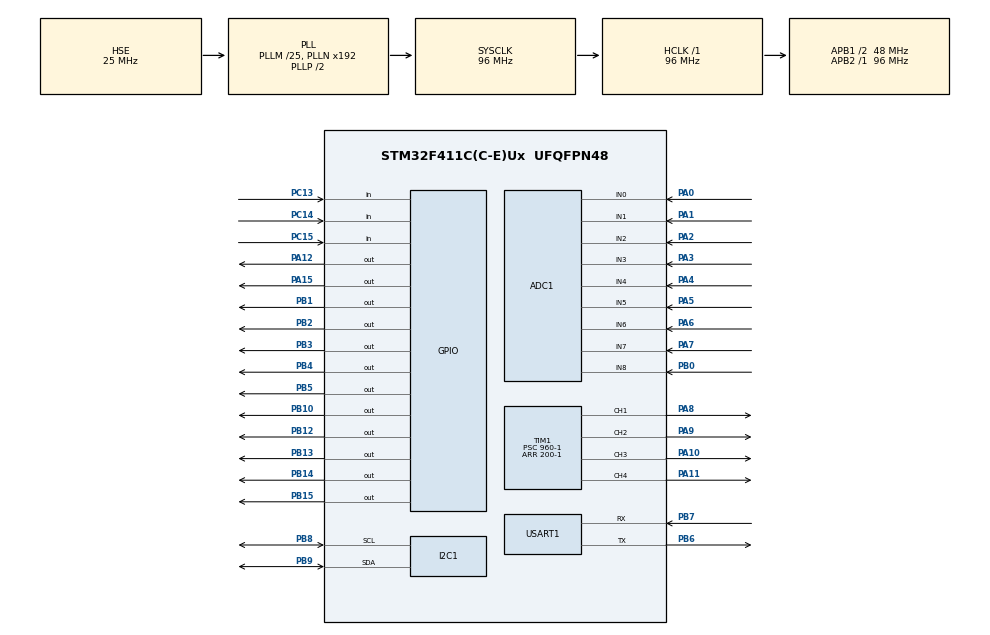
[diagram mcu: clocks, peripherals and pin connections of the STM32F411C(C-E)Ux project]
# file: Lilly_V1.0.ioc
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ADC1.Channel-0\#ChannelRegularConversion=ADC_CHANNEL_0
ADC1.Channel-1\#ChannelInjectedConversion=ADC_CHANNEL_0
ADC1.InjNumberOfConversion=1
ADC1.InjectedOffset-1\#ChannelInjectedConversion=0
ADC1.InjectedRank-1\#ChannelInjectedConversion=1
ADC1.NbrOfConversionFlag=1
ADC1.Rank-0\#ChannelRegularConversion=1
ADC1.SamplingTime-0\#ChannelRegularConversion=ADC_SAMPLETIME_112CYCLES
ADC1.SamplingTime-1\#ChannelInjectedConversion=ADC_SAMPLETIME_3CYCLES
ADC1.master=1
Dma.ADC1.0.Direction=DMA_PERIPH_TO_MEMORY
Dma.ADC1.0.FIFOMode=DMA_FIFOMODE_DISABLE
Dma.ADC1.0.Instance=DMA2_Stream0
Dma.ADC1.0.MemDataAlignment=DMA_MDATAALIGN_HALFWORD
Dma.ADC1.0.MemInc=DMA_MINC_ENABLE
Dma.ADC1.0.Mode=DMA_NORMAL
Dma.ADC1.0.PeriphDataAlignment=DMA_PDATAALIGN_HALFWORD
Dma.ADC1.0.PeriphInc=DMA_PINC_DISABLE
Dma.ADC1.0.Priority=DMA_PRIORITY_LOW
Dma.Request0=ADC1
Dma.Request1=USART1_RX
Dma.USART1_RX.1.Direction=DMA_PERIPH_TO_MEMORY
Dma.USART1_RX.1.FIFOMode=DMA_FIFOMODE_DISABLE
Dma.USART1_RX.1.Instance=DMA2_Stream2
Dma.USART1_RX.1.MemDataAlignment=DMA_MDATAALIGN_BYTE
Dma.USART1_RX.1.MemInc=DMA_MINC_ENABLE
Dma.USART1_RX.1.Mode=DMA_NORMAL
Dma.USART1_RX.1.PeriphDataAlignment=DMA_PDATAALIGN_BYTE
Dma.USART1_RX.1.PeriphInc=DMA_PINC_DISABLE
Dma.USART1_RX.1.Priority=DMA_PRIORITY_LOW
Mcu.Family=STM32F4
Mcu.Name=STM32F411C(C-E)Ux
Mcu.Package=UFQFPN48
NVIC.ADC_IRQn=true\:0\:0\:false\:false\:true\:true\:true\:true
NVIC.DMA2_Stream0_IRQn=true\:0\:0\:false\:false\:true\:false\:true\:true
NVIC.DMA2_Stream2_IRQn=true\:0\:0\:false\:false\:true\:false\:true\:true
NVIC.PriorityGroup=NVIC_PRIORITYGROUP_4
NVIC.USART1_IRQn=true\:0\:0\:false\:false\:true\:true\:true\:true
PA0-WKUP.Signal=ADCx_IN0
PA1.Signal=ADCx_IN1
PA10.Signal=S_TIM1_CH3
PA11.Signal=S_TIM1_CH4
PA12.Signal=GPIO_Output
PA13.Mode=Serial_Wire
PA13.Signal=SYS_JTMS-SWDIO
PA14.Mode=Serial_Wire
PA14.Signal=SYS_JTCK-SWCLK
PA15.Signal=GPIO_Output
PA2.Signal=ADCx_IN2
PA3.Signal=ADCx_IN3
PA4.Signal=ADCx_IN4
PA5.Signal=ADCx_IN5
PA6.Signal=ADCx_IN6
PA7.Signal=ADCx_IN7
PA8.Signal=S_TIM1_CH1
PA9.Signal=S_TIM1_CH2
PB0.Signal=ADCx_IN8
PB1.Signal=GPIO_Output
PB10.Signal=GPIO_Output
PB12.Signal=GPIO_Output
PB13.Signal=GPIO_Output
PB14.Signal=GPIO_Output
PB15.Signal=GPIO_Output
PB2.Signal=GPIO_Output
PB3.Signal=GPIO_Output
PB4.Signal=GPIO_Output
PB5.Signal=GPIO_Output
PB6.Mode=Asynchronous
PB6.Signal=USART1_TX
PB7.Mode=Asynchronous
PB7.Signal=USART1_RX
PB8.Mode=I2C
PB8.Signal=I2C1_SCL
PB9.Mode=I2C
PB9.Signal=I2C1_SDA
PC13-ANTI_TAMP.Signal=GPIO_Input
PC14-OSC32_IN.Signal=GPIO_Input
PC15-OSC32_OUT.Signal=GPIO_Input
PH0\ -\ OSC_IN.Mode=HSE-External-Oscillator
PH0\ -\ OSC_IN.Signal=RCC_OSC_IN
PH1\ -\ OSC_OUT.Mode=HSE-External-Oscillator
PH1\ -\ OSC_OUT.Signal=RCC_OSC_OUT
ProjectManager.HeapSize=0x200
ProjectManager.StackSize=0x400
ProjectManager.TargetToolchain=STM32CubeIDE
RCC.48MHZClocksFreq_Value=48000000
RCC.AHBFreq_Value=96000000
RCC.APB1CLKDivider=RCC_HCLK_DIV2
RCC.APB1Freq_Value=48000000
RCC.APB1TimFreq_Value=96000000
RCC.APB2Freq_Value=96000000
RCC.APB2TimFreq_Value=96000000
RCC.CortexFreq_Value=96000000
RCC.HCLKFreq_Value=96000000
RCC.HSE_VALUE=25000000
RCC.HSI_VALUE=16000000
RCC.LSE_VALUE=32768
RCC.PLLM=25
RCC.PLLSourceVirtual=RCC_PLLSOURCE_HSE
RCC.SYSCLKFreq_VALUE=96000000
RCC.SYSCLKSource=RCC_SYSCLKSOURCE_PLLCLK
RCC.VCOOutputFreq_Value=192000000
SH.ADCx_IN0.0=ADC1_IN0,IN0
SH.ADCx_IN1.0=ADC1_IN1,IN1
SH.ADCx_IN2.0=ADC1_IN2,IN2
SH.ADCx_IN3.0=ADC1_IN3,IN3
SH.ADCx_IN4.0=ADC1_IN4,IN4
SH.ADCx_IN5.0=ADC1_IN5,IN5
SH.ADCx_IN6.0=ADC1_IN6,IN6
SH.ADCx_IN7.0=ADC1_IN7,IN7
SH.ADCx_IN8.0=ADC1_IN8,IN8
SH.S_TIM1_CH1.0=TIM1_CH1,PWM Generation1 CH1
SH.S_TIM1_CH2.0=TIM1_CH2,PWM Generation2 CH2
SH.S_TIM1_CH3.0=TIM1_CH3,PWM Generation3 CH3
SH.S_TIM1_CH4.0=TIM1_CH4,PWM Generation4 CH4
TIM1.Channel-PWM\ Generation1\ CH1=TIM_CHANNEL_1
TIM1.Channel-PWM\ Generation2\ CH2=TIM_CHANNEL_2
TIM1.Channel-PWM\ Generation3\ CH3=TIM_CHANNEL_3
TIM1.Channel-PWM\ Generation4\ CH4=TIM_CHANNEL_4
TIM1.Period=200-1
TIM1.Prescaler=960-1
TIM2.Period=4294967295-1
TIM2.Prescaler=96-1
USART1.VirtualMode=VM_ASYNC
VP_TIM1_VS_ClockSourceINT.Mode=Internal
VP_TIM2_VS_ClockSourceINT.Mode=Internal
board=custom

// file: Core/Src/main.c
/* USER CODE BEGIN Header */
/**
  ******************************************************************************
  * @file           : main.c
  * @brief          : Main program body
  ******************************************************************************
  * @attention
  *
  * Copyright (c) 2025 STMicroelectronics.
  * All rights reserved.
  *
  * This software is licensed under terms that can be found in the LICENSE file
  * in the root directory of this software component.
  * If no LICENSE file comes with this software, it is provided AS-IS.
  *
  ******************************************************************************
  */
/* USER CODE END Header */
#include "main.h"

/* USER CODE BEGIN Includes */
#include <stdlib.h>
#include "arm_math.h"
#include <string.h>
#include <math.h>
/* USER CODE END Includes */

/* USER CODE BEGIN PTD */
typedef struct __attribute__((packed)) {
  char        header_start;         // Should be '<'
  char        header_end;           // Should be '>'
  float       position;
  uint16_t    sensor_values[9];     // Your GUI is configured for 9 sensors
  uint8_t     status_code;
  float       kp;
  float       ki;
  float       kd;
  uint16_t    threshold;
  uint8_t     base_speed;
  float     pid_error;
  float     pid_output;
} TelemetryPacket;
typedef struct __attribute__((packed)) {
  char header_start;         // Should be '<'
  char header_end;           // Should be '>'
  float position;
  uint8_t sensor_bools[9];    // 1 or 0 for each sensor
} SimplifiedTelemetryPacket;
/* USER CODE END PTD */

ADC_HandleTypeDef hadc1;
DMA_HandleTypeDef hdma_adc1;

I2C_HandleTypeDef hi2c1;

TIM_HandleTypeDef htim1;
TIM_HandleTypeDef htim2;

UART_HandleTypeDef huart1;
DMA_HandleTypeDef hdma_usart1_rx;

/* USER CODE BEGIN PV */
GPIO_TypeDef* IR_LED_PORTS[9] = { GPIOB, GPIOB, GPIOB, GPIOB, GPIOA, GPIOA, GPIOB, GPIOB, GPIOB};
uint32_t IR_LED_PINS[9] = {GPIO_PIN_12, GPIO_PIN_13, GPIO_PIN_14, GPIO_PIN_15, GPIO_PIN_12, GPIO_PIN_15, GPIO_PIN_3, GPIO_PIN_4, GPIO_PIN_5};
uint32_t sensorAdcChannel[9] = {
    ADC_CHANNEL_8, // sensor 0 → PB12
    ADC_CHANNEL_7, // sensor 1 → PB13
    ADC_CHANNEL_6, // sensor 2 → PB14
    ADC_CHANNEL_5, // sensor 3 → PB15
    ADC_CHANNEL_4, // sensor 4 → PA12
    ADC_CHANNEL_3, // sensor 5 → PA15
    ADC_CHANNEL_2, // sensor 6 → PB3
    ADC_CHANNEL_1, // sensor 7 → PA4
    ADC_CHANNEL_0, // sensor 8 → PB5
};

// These variables will store your sensor data. You can change `float` to `float32_t` if you wish.
float32_t ambient_adc[9][1000];
float32_t ir_on_adc[9][1000];
float32_t signal_calib[9][1000];
volatile float32_t signal_runtime[9];
float32_t localMin=0;
float32_t localMax=0;

volatile float32_t SignalAvg[9];
volatile float32_t sumSignal=0;
volatile float32_t calib[9][2];
volatile uint8_t adcDone = 0;
volatile uint32_t adc_buf;
float32_t min_max[9][2];

//PID
float32_t Kp = 2.0f, Ki = 0.0f, Kd = 0.005f;
float32_t weights[9]={-40,-30,-20,-10,0,10,20,30,40};
uint32_t last_update_time = 0;
const uint32_t INTERVAL_MS = 0;
const float32_t threshold[9]={250,250,250,100,150,250,250,250,150};
float32_t lower_threshold[9]={70,70,70,40,30,70,70,70,70};
float32_t position;
float32_t output;
float32_t error;
float32_t setpoint=0;
float32_t last_known_turn_direction;
uint8_t base_speed = 60;
uint8_t turn_speed = 50;
int turn=1;

double P, I, D;
double correction = 0, lastInput = 0;
uint32_t lastTime = 0;
double integralMin = -25.0, integralMax = 25.0;

arm_pid_instance_f32 pid;

#define RX_BUFFER_SIZE 32
uint8_t rx_buffer[RX_BUFFER_SIZE];
volatile uint8_t status_to_send = 0;

/* USER CODE END PV */

void SystemClock_Config(void);
static void MX_GPIO_Init(void);
static void MX_DMA_Init(void);
static void MX_ADC1_Init(void);
static void MX_TIM1_Init(void);
static void MX_TIM2_Init(void);
static void MX_I2C1_Init(void);
static void MX_USART1_UART_Init(void);
/* USER CODE BEGIN PFP */
void setMotorSpeed(uint8_t motor, int32_t speed);
void delay_us(uint32_t us);
void calibrate(void);
void ReadSensors(void);
void HAL_ADC_ConvCpltCallback(ADC_HandleTypeDef* hadc);
float32_t line_data(void);
void HAL_UARTEx_RxEventCallback(UART_HandleTypeDef *huart, uint16_t Size);
void send_telemetry_data(float current_position, float pid_err, float pid_out);
void handle_received_command(uint8_t* buffer, uint16_t len);
/* USER CODE END PFP */

/* USER CODE BEGIN 0 */
void setMotorSpeed(uint8_t motor, int32_t speed)
{
	// tim1 ch1- left front, ch2- left back, ch3-right front, ch4- right back
    uint16_t pwm = abs(speed);
    if (pwm > 200) pwm = 200;  // Limit max speed

    if (motor == 0) {  // Left motor
        if (speed < 0) {
            TIM1->CCR3 = pwm;
            TIM1->CCR4 = 0;
        } else {
            TIM1->CCR3 = 0;
            TIM1->CCR4 = pwm;
        }
    }
    else if (motor == 1) {  // Right motor
        if (speed < 0) {
            TIM1->CCR2 = pwm;
            TIM1->CCR1 = 0;
        } else {
            TIM1->CCR2 = 0;
            TIM1->CCR1 = pwm;
        }
    }
}
void delay_us(uint32_t us)
{
    uint32_t start = __HAL_TIM_GET_COUNTER(&htim2);
    while ((__HAL_TIM_GET_COUNTER(&htim2) - start) < us);
}
void calibrate(void)
{ 	volatile int sensorIndex = 0;
    volatile int sampleIndex=0;
    localMin= signal_calib[sensorIndex][0];
    localMax =signal_calib[sensorIndex][0];;

    ADC_ChannelConfTypeDef sConfig; // sconfig to change channels

    for(sensorIndex =0; sensorIndex<9 ; sensorIndex++)
    {
    	sConfig.Channel = sensorAdcChannel[sensorIndex]; // to update channels
    	sConfig.Rank = 1; //ADC_REGULAR_RANK_1;
    	HAL_ADC_ConfigChannel(&hadc1, &sConfig);

    	for(sampleIndex=0; sampleIndex <1000; sampleIndex++)
    	{
    		// ir led off
    		HAL_GPIO_WritePin(IR_LED_PORTS[sensorIndex], IR_LED_PINS[sensorIndex], RESET);
    		delay_us(50);
    		HAL_ADC_Start(&hadc1);
    		HAL_ADC_PollForConversion(&hadc1, 0xFFFFFFFFU);
            // 0xFFFFFFFFU is delay so it stays in loop unless adc conversion finished
    		ambient_adc[sensorIndex][sampleIndex]=(float32_t)HAL_ADC_GetValue(&hadc1);

    		if (__HAL_ADC_GET_FLAG(&hadc1, ADC_FLAG_OVR)) {
    		    // Overflow happened
    		    __HAL_ADC_CLEAR_FLAG(&hadc1, ADC_FLAG_OVR);  // clear it
    		}

            //ir led on
    		HAL_GPIO_WritePin(IR_LED_PORTS[sensorIndex], IR_LED_PINS[sensorIndex], SET);
    		delay_us(50);
    		HAL_ADC_Start(&hadc1);
            HAL_ADC_PollForConversion(&hadc1, 0xFFFFFFFFU);
    	   ir_on_adc[sensorIndex][sampleIndex]=(float32_t)HAL_ADC_GetValue(&hadc1);

    	   if (__HAL_ADC_GET_FLAG(&hadc1, ADC_FLAG_OVR)) {
    	       // Overflow happened
    	       __HAL_ADC_CLEAR_FLAG(&hadc1, ADC_FLAG_OVR);  // clear it
    	   }

    	   // save difference in array
    	   signal_calib[sensorIndex][sampleIndex] = ambient_adc[sensorIndex][sampleIndex] - ir_on_adc[sensorIndex][sampleIndex];
    	   sumSignal += signal_calib[sensorIndex][sampleIndex];
    	}
    	SignalAvg[sensorIndex] = sumSignal / 1000.0f;
    	sumSignal=0;

    	for (int i = 1; i < 1000; i++)
    	{
    		float32_t val = signal_calib[sensorIndex][i];
    	    if (val < localMin) localMin = val;
    	    if (val > localMax) localMax = val;
    	}
    	min_max[sensorIndex][0]= localMin;
    	min_max[sensorIndex][1] = localMax;

    	HAL_Delay(1);

	}

 // print on oled - calibration done

}

void computePID(double error, int32_t input) {

//	double timeChange = (double) (HAL_GetTick() - lastTime);
//	printf("Inside compute pid error = %f\n", error);
	P = Kp * error;
	I += Ki * error * 20;
	if (I > integralMax) I = integralMax;
	if (I < integralMin) I = integralMin;
	D = Kd * (input - lastInput) / 20;

	correction = P + I + D;
	lastInput = input;
	lastTime = HAL_GetTick();
	correction = floor(correction);
//	base_speed_right = floor(base_speed_right);
//	printf("motor0: %f, motor1:%f\n", base_speed + correction,
//			base_speed - correction);
	setMotorSpeed(0, base_speed - correction);
	setMotorSpeed(1, base_speed + correction);

}
void HAL_ADC_ConvCpltCallback(ADC_HandleTypeDef* hadc)
{
	if(hadc -> Instance == ADC1){
		 adcDone = 1;
	}

} //callback during runtime
void ReadSensors(void)
{
	   int sensorIndex = 0;

	   ADC_ChannelConfTypeDef sConfig; // sconfig to change channels

	   for(sensorIndex =0; sensorIndex<9 ; sensorIndex++)
	   {
	   	sConfig.Channel = sensorAdcChannel[sensorIndex]; // to update channels
	   	sConfig.Rank = 1; //ADC_REGULAR_RANK_1;
	   	HAL_ADC_ConfigChannel(&hadc1, &sConfig);

			// ir led off
			HAL_GPIO_WritePin(IR_LED_PORTS[sensorIndex], IR_LED_PINS[sensorIndex], RESET);
			delay_us(50);
			  HAL_ADC_Stop_DMA(&hadc1);  // <<< IMPORTANT
			adcDone = 0;

			HAL_ADC_Start_DMA(&hadc1, (uint32_t *)&adc_buf, 1);

			 // wait until conversion is complete
			while (adcDone == 0);

			ambient_adc[sensorIndex][0]=(float32_t)adc_buf;

			if (__HAL_ADC_GET_FLAG(&hadc1, ADC_FLAG_OVR))
			{
			    // Overflow happened
			     __HAL_ADC_CLEAR_FLAG(&hadc1, ADC_FLAG_OVR);  // clear it
			}

	 		//ir led on
	 		HAL_GPIO_WritePin(IR_LED_PORTS[sensorIndex], IR_LED_PINS[sensorIndex], SET);
	 		delay_us(50);
	 		 HAL_ADC_Stop_DMA(&hadc1);  // <<< IMPORTANT
	 		adcDone = 0;

	 	   HAL_ADC_Start_DMA(&hadc1, (uint32_t *)&adc_buf, 1);

	 	   //callback will be triggered after conversion
	 	   // wait until conversion is complete
	 	   while (adcDone == 0);

	 	  ir_on_adc[sensorIndex][0]=(float32_t)adc_buf;

		   if (__HAL_ADC_GET_FLAG(&hadc1, ADC_FLAG_OVR)) {
		       // Overflow happened
		       __HAL_ADC_CLEAR_FLAG(&hadc1, ADC_FLAG_OVR);  // clear it
		   }

	 	   // save difference in array
		   signal_runtime[sensorIndex] = ambient_adc[sensorIndex][0] - ir_on_adc[sensorIndex][0];

	}

	//  // print on oled - sensor data took

}
float32_t line_data(void){
	float32_t sum = 0;
	float32_t weighted_sum = 0;
	float32_t onLine = 0;
	for(int i=0;i<9;i++){
		if(signal_runtime[i]< threshold[i]){
			weighted_sum += weights[i];
			sum += 1;
            onLine = 1;
		}
	}
	 if (!onLine) {
		 return 255;  // Line lost condition
	 }

	 return (float32_t)weighted_sum / (float32_t)sum;

}
void send_telemetry_data(float current_position,float pid_err, float pid_out) {
    static TelemetryPacket packet;

    packet.header_start = '<';
    packet.header_end = '>';
    packet.position = current_position;

    // Fill sensor data from the new code's signal_runtime array
    for(int i = 0; i < 8; i++) {
        packet.sensor_values[i] = (uint16_t)signal_runtime[i];
    }

    packet.status_code = status_to_send;
    packet.kp = Kp;
    packet.ki = Ki;
    packet.kd = Kd;
//    packet.threshold = threshold; // Use the new code's threshold variable
    packet.base_speed = (uint8_t)base_speed;
    packet.pid_error = pid_err;
    packet.pid_output = pid_out;

    HAL_UART_Transmit(&huart1, (uint8_t*)&packet, sizeof(TelemetryPacket), 100);

    status_to_send = 0;
}
void handle_received_command(uint8_t* buffer, uint16_t len) {
    char cmd_string[len + 1];
    memcpy(cmd_string, buffer, len);
    cmd_string[len] = '\0';

    char* colon_ptr = strchr(cmd_string, ':');

    if (colon_ptr != NULL) {
        *colon_ptr = '\0';
        char* key = cmd_string;
        char* value_str = colon_ptr + 1;
        float value = atof(value_str);

        uint8_t pid_constants_changed = 0;

        if (strcmp(key, "KP") == 0) {
            Kp = value;
            pid_constants_changed = 1;
        } else if (strcmp(key, "KI") == 0) {
            Ki = value;
            pid_constants_changed = 1;
        } else if (strcmp(key, "KD") == 0) {
            Kd = value;
            pid_constants_changed = 1;
        }
//        else if (strcmp(key, "TH") == 0) {
//            threshold = value; // Use the new code's threshold variable
//            status_to_send = 1;
//        }
        else if (strcmp(key, "BS") == 0) {
            base_speed = (uint8_t)value;
            status_to_send = 1;
        } else {
            status_to_send = 200;
        }

        if (pid_constants_changed) {
            // Update the new code's PID instance
            pid.Kp = Kp;
            pid.Ki = Ki;
            pid.Kd = Kd;
            arm_pid_init_f32(&pid, 1);
            status_to_send = 1;
        }

    } else {
        status_to_send = 200;
    }
}
void HAL_UARTEx_RxEventCallback(UART_HandleTypeDef *huart, uint16_t Size)
{
    if (huart->Instance == USART1) { // Check for USART1
        handle_received_command(rx_buffer, Size);

        HAL_UARTEx_ReceiveToIdle_DMA(&huart1, rx_buffer, RX_BUFFER_SIZE); // Check for USART1
        __HAL_DMA_DISABLE_IT(&hdma_usart1_rx, DMA_IT_HT); // You may need to change DMA handle name
    }
}
void send_telemetry_data_new(float current_position) {
    static SimplifiedTelemetryPacket packet;

    packet.header_start = '<';
    packet.header_end = '>';
    packet.position = current_position;

    // Populate the boolean sensor array
    for(int i = 0; i < 9; i++) {
        if (signal_runtime[i] < threshold[i]) {
            packet.sensor_bools[i] = 1;
        } else {
            packet.sensor_bools[i] = 0;
        }
    }

    HAL_UART_Transmit(&huart1, (uint8_t*)&packet, sizeof(SimplifiedTelemetryPacket), 100);
}
/* USER CODE END 0 */

int main(void)
{

  /* MCU Configuration--------------------------------------------------------*/

  /* Reset of all peripherals, Initializes the Flash interface and the Systick. */
  HAL_Init();

  /* Configure the system clock */
  SystemClock_Config();

  /* Initialize all configured peripherals */
  MX_GPIO_Init();
  MX_DMA_Init();
  MX_ADC1_Init();
  MX_TIM1_Init();
  MX_TIM2_Init();
  MX_I2C1_Init();
  MX_USART1_UART_Init();
  /* USER CODE BEGIN 2 */
  HAL_TIM_Base_Start(&htim2);
  HAL_GPIO_WritePin(GPIOB, GPIO_PIN_10, GPIO_PIN_SET);
  HAL_GPIO_WritePin(GPIOB, GPIO_PIN_1, GPIO_PIN_SET);

  // Start PWM for motors
  HAL_TIM_PWM_Start(&htim1, TIM_CHANNEL_1);
  HAL_TIM_PWM_Start(&htim1, TIM_CHANNEL_2);
  HAL_TIM_PWM_Start(&htim1, TIM_CHANNEL_3);
  HAL_TIM_PWM_Start(&htim1, TIM_CHANNEL_4);

  // Call calibrate once at the beginning of your program to establish a baseline
  calibrate();
  pid.Kp=Kp;
  pid.Ki=Ki;
  pid.Kd=Kd;
  arm_pid_init_f32(&pid, 1);
  lastTime= HAL_GetTick();

  HAL_UARTEx_ReceiveToIdle_DMA(&huart1, rx_buffer, RX_BUFFER_SIZE);
  __HAL_DMA_DISABLE_IT(&hdma_usart1_rx, DMA_IT_HT);
  /* USER CODE END 2 */

  /* Infinite loop */
  /* USER CODE BEGIN WHILE */
  while (1)
  {
	  uint32_t current_time = HAL_GetTick();
	  if((current_time-last_update_time)>=INTERVAL_MS){
		  last_update_time=HAL_GetTick();
		  ReadSensors();
		  position=line_data();
		  if(position>20 && position!=255){
			 turn=1;
		  }else if(position<-20){
			  turn=-1;
		  }

		  if (position ==255)
		  {
			  if (turn == 1) { // We were heading into a right turn
				  setMotorSpeed(0, turn_speed);
				  setMotorSpeed(1, -turn_speed);
			  } else if (turn == -1) { // We were heading into a left turn
				  setMotorSpeed(0, -turn_speed);
				  setMotorSpeed(1, turn_speed);
			  }
			  	  continue;
		  }
//		  if (position == 255)
//		  {
//			  lastTime= HAL_GetTick();
////			  arm_pid_reset_f32(&pid);
//			  if (last_known_turn_direction == 1) { // We were heading into a right turn
//				  setMotorSpeed(0, turn_speed);
//				  setMotorSpeed(1, -turn_speed);
//			  } else if (last_known_turn_direction == -1) { // We were heading into a left turn
//				  setMotorSpeed(0, -turn_speed);
//				  setMotorSpeed(1, turn_speed);
//			  }
//			  continue;
//
//		  }
//		  else {
//}
////			  setMotorSpeed(0, base_speed + (int32_t)output);
////			  setMotorSpeed(1, base_speed - (int32_t)output);
//		  }

		  error = -((float32_t)position);
		  computePID(error,position);
		  send_telemetry_data_new(position);

	  }

    /* USER CODE END WHILE */

  }
}

void SystemClock_Config(void)
{
  RCC_OscInitTypeDef RCC_OscInitStruct = {0};
  RCC_ClkInitTypeDef RCC_ClkInitStruct = {0};

  /** Configure the main internal regulator output voltage
  */
  __HAL_RCC_PWR_CLK_ENABLE();
  __HAL_PWR_VOLTAGESCALING_CONFIG(PWR_REGULATOR_VOLTAGE_SCALE1);

  /** Initializes the RCC Oscillators according to the specified parameters
  * in the RCC_OscInitTypeDef structure.
  */
  RCC_OscInitStruct.OscillatorType = RCC_OSCILLATORTYPE_HSE;
  RCC_OscInitStruct.HSEState = RCC_HSE_ON;
  RCC_OscInitStruct.PLL.PLLState = RCC_PLL_ON;
  RCC_OscInitStruct.PLL.PLLSource = RCC_PLLSOURCE_HSE;
  RCC_OscInitStruct.PLL.PLLM = 25;
  RCC_OscInitStruct.PLL.PLLN = 192;
  RCC_OscInitStruct.PLL.PLLP = RCC_PLLP_DIV2;
  RCC_OscInitStruct.PLL.PLLQ = 4;
  if (HAL_RCC_OscConfig(&RCC_OscInitStruct) != HAL_OK)
  {
    Error_Handler();
  }

  /** Initializes the CPU, AHB and APB buses clocks
  */
  RCC_ClkInitStruct.ClockType = RCC_CLOCKTYPE_HCLK|RCC_CLOCKTYPE_SYSCLK
                              |RCC_CLOCKTYPE_PCLK1|RCC_CLOCKTYPE_PCLK2;
  RCC_ClkInitStruct.SYSCLKSource = RCC_SYSCLKSOURCE_PLLCLK;
  RCC_ClkInitStruct.AHBCLKDivider = RCC_SYSCLK_DIV1;
  RCC_ClkInitStruct.APB1CLKDivider = RCC_HCLK_DIV2;
  RCC_ClkInitStruct.APB2CLKDivider = RCC_HCLK_DIV1;

  if (HAL_RCC_ClockConfig(&RCC_ClkInitStruct, FLASH_LATENCY_3) != HAL_OK)
  {
    Error_Handler();
  }
}

static void MX_ADC1_Init(void)
{

  ADC_ChannelConfTypeDef sConfig = {0};
  ADC_InjectionConfTypeDef sConfigInjected = {0};

  /** Configure the global features of the ADC (Clock, Resolution, Data Alignment and number of conversion)
  */
  hadc1.Instance = ADC1;
  hadc1.Init.ClockPrescaler = ADC_CLOCK_SYNC_PCLK_DIV4;
  hadc1.Init.Resolution = ADC_RESOLUTION_12B;
  hadc1.Init.ScanConvMode = DISABLE;
  hadc1.Init.ContinuousConvMode = DISABLE;
  hadc1.Init.DiscontinuousConvMode = DISABLE;
  hadc1.Init.ExternalTrigConvEdge = ADC_EXTERNALTRIGCONVEDGE_NONE;
  hadc1.Init.ExternalTrigConv = ADC_SOFTWARE_START;
  hadc1.Init.DataAlign = ADC_DATAALIGN_RIGHT;
  hadc1.Init.NbrOfConversion = 1;
  hadc1.Init.DMAContinuousRequests = DISABLE;
  hadc1.Init.EOCSelection = ADC_EOC_SINGLE_CONV;
  if (HAL_ADC_Init(&hadc1) != HAL_OK)
  {
    Error_Handler();
  }

  /** Configure for the selected ADC regular channel its corresponding rank in the sequencer and its sample time.
  */
  sConfig.Channel = ADC_CHANNEL_0;
  sConfig.Rank = 1;
  sConfig.SamplingTime = ADC_SAMPLETIME_112CYCLES;
  if (HAL_ADC_ConfigChannel(&hadc1, &sConfig) != HAL_OK)
  {
    Error_Handler();
  }

  /** Configures for the selected ADC injected channel its corresponding rank in the sequencer and its sample time
  */
  sConfigInjected.InjectedChannel = ADC_CHANNEL_0;
  sConfigInjected.InjectedRank = 1;
  sConfigInjected.InjectedNbrOfConversion = 1;
  sConfigInjected.InjectedSamplingTime = ADC_SAMPLETIME_3CYCLES;
  sConfigInjected.ExternalTrigInjecConvEdge = ADC_EXTERNALTRIGINJECCONVEDGE_NONE;
  sConfigInjected.ExternalTrigInjecConv = ADC_INJECTED_SOFTWARE_START;
  sConfigInjected.AutoInjectedConv = DISABLE;
  sConfigInjected.InjectedDiscontinuousConvMode = DISABLE;
  sConfigInjected.InjectedOffset = 0;
  if (HAL_ADCEx_InjectedConfigChannel(&hadc1, &sConfigInjected) != HAL_OK)
  {
    Error_Handler();
  }

}

static void MX_I2C1_Init(void)
{

  hi2c1.Instance = I2C1;
  hi2c1.Init.ClockSpeed = 100000;
  hi2c1.Init.DutyCycle = I2C_DUTYCYCLE_2;
  hi2c1.Init.OwnAddress1 = 0;
  hi2c1.Init.AddressingMode = I2C_ADDRESSINGMODE_7BIT;
  hi2c1.Init.DualAddressMode = I2C_DUALADDRESS_DISABLE;
  hi2c1.Init.OwnAddress2 = 0;
  hi2c1.Init.GeneralCallMode = I2C_GENERALCALL_DISABLE;
  hi2c1.Init.NoStretchMode = I2C_NOSTRETCH_DISABLE;
  if (HAL_I2C_Init(&hi2c1) != HAL_OK)
  {
    Error_Handler();
  }

}

static void MX_TIM1_Init(void)
{

  TIM_ClockConfigTypeDef sClockSourceConfig = {0};
  TIM_MasterConfigTypeDef sMasterConfig = {0};
  TIM_OC_InitTypeDef sConfigOC = {0};
  TIM_BreakDeadTimeConfigTypeDef sBreakDeadTimeConfig = {0};

  htim1.Instance = TIM1;
  htim1.Init.Prescaler = 960-1;
  htim1.Init.CounterMode = TIM_COUNTERMODE_UP;
  htim1.Init.Period = 200-1;
  htim1.Init.ClockDivision = TIM_CLOCKDIVISION_DIV1;
  htim1.Init.RepetitionCounter = 0;
  htim1.Init.AutoReloadPreload = TIM_AUTORELOAD_PRELOAD_DISABLE;
  if (HAL_TIM_Base_Init(&htim1) != HAL_OK)
  {
    Error_Handler();
  }
  sClockSourceConfig.ClockSource = TIM_CLOCKSOURCE_INTERNAL;
  if (HAL_TIM_ConfigClockSource(&htim1, &sClockSourceConfig) != HAL_OK)
  {
    Error_Handler();
  }
  if (HAL_TIM_PWM_Init(&htim1) != HAL_OK)
  {
    Error_Handler();
  }
  sMasterConfig.MasterOutputTrigger = TIM_TRGO_RESET;
  sMasterConfig.MasterSlaveMode = TIM_MASTERSLAVEMODE_DISABLE;
  if (HAL_TIMEx_MasterConfigSynchronization(&htim1, &sMasterConfig) != HAL_OK)
  {
    Error_Handler();
  }
  sConfigOC.OCMode = TIM_OCMODE_PWM1;
  sConfigOC.Pulse = 0;
  sConfigOC.OCPolarity = TIM_OCPOLARITY_HIGH;
  sConfigOC.OCNPolarity = TIM_OCNPOLARITY_HIGH;
  sConfigOC.OCFastMode = TIM_OCFAST_DISABLE;
  sConfigOC.OCIdleState = TIM_OCIDLESTATE_RESET;
  sConfigOC.OCNIdleState = TIM_OCNIDLESTATE_RESET;
  if (HAL_TIM_PWM_ConfigChannel(&htim1, &sConfigOC, TIM_CHANNEL_1) != HAL_OK)
  {
    Error_Handler();
  }
  if (HAL_TIM_PWM_ConfigChannel(&htim1, &sConfigOC, TIM_CHANNEL_2) != HAL_OK)
  {
    Error_Handler();
  }
  if (HAL_TIM_PWM_ConfigChannel(&htim1, &sConfigOC, TIM_CHANNEL_3) != HAL_OK)
  {
    Error_Handler();
  }
  if (HAL_TIM_PWM_ConfigChannel(&htim1, &sConfigOC, TIM_CHANNEL_4) != HAL_OK)
  {
    Error_Handler();
  }
  sBreakDeadTimeConfig.OffStateRunMode = TIM_OSSR_DISABLE;
  sBreakDeadTimeConfig.OffStateIDLEMode = TIM_OSSI_DISABLE;
  sBreakDeadTimeConfig.LockLevel = TIM_LOCKLEVEL_OFF;
  sBreakDeadTimeConfig.DeadTime = 0;
  sBreakDeadTimeConfig.BreakState = TIM_BREAK_DISABLE;
  sBreakDeadTimeConfig.BreakPolarity = TIM_BREAKPOLARITY_HIGH;
  sBreakDeadTimeConfig.AutomaticOutput = TIM_AUTOMATICOUTPUT_DISABLE;
  if (HAL_TIMEx_ConfigBreakDeadTime(&htim1, &sBreakDeadTimeConfig) != HAL_OK)
  {
    Error_Handler();
  }
  HAL_TIM_MspPostInit(&htim1);

}

static void MX_TIM2_Init(void)
{

  TIM_ClockConfigTypeDef sClockSourceConfig = {0};
  TIM_MasterConfigTypeDef sMasterConfig = {0};

  htim2.Instance = TIM2;
  htim2.Init.Prescaler = 96-1;
  htim2.Init.CounterMode = TIM_COUNTERMODE_UP;
  htim2.Init.Period = 4294967295-1;
  htim2.Init.ClockDivision = TIM_CLOCKDIVISION_DIV1;
  htim2.Init.AutoReloadPreload = TIM_AUTORELOAD_PRELOAD_DISABLE;
  if (HAL_TIM_Base_Init(&htim2) != HAL_OK)
  {
    Error_Handler();
  }
  sClockSourceConfig.ClockSource = TIM_CLOCKSOURCE_INTERNAL;
  if (HAL_TIM_ConfigClockSource(&htim2, &sClockSourceConfig) != HAL_OK)
  {
    Error_Handler();
  }
  sMasterConfig.MasterOutputTrigger = TIM_TRGO_RESET;
  sMasterConfig.MasterSlaveMode = TIM_MASTERSLAVEMODE_DISABLE;
  if (HAL_TIMEx_MasterConfigSynchronization(&htim2, &sMasterConfig) != HAL_OK)
  {
    Error_Handler();
  }

}

static void MX_USART1_UART_Init(void)
{

  huart1.Instance = USART1;
  huart1.Init.BaudRate = 115200;
  huart1.Init.WordLength = UART_WORDLENGTH_8B;
  huart1.Init.StopBits = UART_STOPBITS_1;
  huart1.Init.Parity = UART_PARITY_NONE;
  huart1.Init.Mode = UART_MODE_TX_RX;
  huart1.Init.HwFlowCtl = UART_HWCONTROL_NONE;
  huart1.Init.OverSampling = UART_OVERSAMPLING_16;
  if (HAL_UART_Init(&huart1) != HAL_OK)
  {
    Error_Handler();
  }

}

static void MX_DMA_Init(void)
{

  /* DMA controller clock enable */
  __HAL_RCC_DMA2_CLK_ENABLE();

  /* DMA interrupt init */
  /* DMA2_Stream0_IRQn interrupt configuration */
  HAL_NVIC_SetPriority(DMA2_Stream0_IRQn, 0, 0);
  HAL_NVIC_EnableIRQ(DMA2_Stream0_IRQn);
  /* DMA2_Stream2_IRQn interrupt configuration */
  HAL_NVIC_SetPriority(DMA2_Stream2_IRQn, 0, 0);
  HAL_NVIC_EnableIRQ(DMA2_Stream2_IRQn);

}

static void MX_GPIO_Init(void)
{
  GPIO_InitTypeDef GPIO_InitStruct = {0};

  /* GPIO Ports Clock Enable */
  __HAL_RCC_GPIOC_CLK_ENABLE();
  __HAL_RCC_GPIOH_CLK_ENABLE();
  __HAL_RCC_GPIOA_CLK_ENABLE();
  __HAL_RCC_GPIOB_CLK_ENABLE();

  /*Configure GPIO pin Output Level */
  HAL_GPIO_WritePin(GPIOB, GPIO_PIN_1|GPIO_PIN_2|GPIO_PIN_10|GPIO_PIN_12
                          |GPIO_PIN_13|GPIO_PIN_14|GPIO_PIN_15|GPIO_PIN_3
                          |GPIO_PIN_4|GPIO_PIN_5, GPIO_PIN_RESET);

  /*Configure GPIO pin Output Level */
  HAL_GPIO_WritePin(GPIOA, GPIO_PIN_12|GPIO_PIN_15, GPIO_PIN_RESET);

  /*Configure GPIO pins : PC13 PC14 PC15 */
  GPIO_InitStruct.Pin = GPIO_PIN_13|GPIO_PIN_14|GPIO_PIN_15;
  GPIO_InitStruct.Mode = GPIO_MODE_INPUT;
  GPIO_InitStruct.Pull = GPIO_NOPULL;
  HAL_GPIO_Init(GPIOC, &GPIO_InitStruct);

  /*Configure GPIO pins : PB1 PB2 PB10 PB12
                           PB13 PB14 PB15 PB3
                           PB4 PB5 */
  GPIO_InitStruct.Pin = GPIO_PIN_1|GPIO_PIN_2|GPIO_PIN_10|GPIO_PIN_12
                          |GPIO_PIN_13|GPIO_PIN_14|GPIO_PIN_15|GPIO_PIN_3
                          |GPIO_PIN_4|GPIO_PIN_5;
  GPIO_InitStruct.Mode = GPIO_MODE_OUTPUT_PP;
  GPIO_InitStruct.Pull = GPIO_NOPULL;
  GPIO_InitStruct.Speed = GPIO_SPEED_FREQ_LOW;
  HAL_GPIO_Init(GPIOB, &GPIO_InitStruct);

  /*Configure GPIO pins : PA12 PA15 */
  GPIO_InitStruct.Pin = GPIO_PIN_12|GPIO_PIN_15;
  GPIO_InitStruct.Mode = GPIO_MODE_OUTPUT_PP;
  GPIO_InitStruct.Pull = GPIO_NOPULL;
  GPIO_InitStruct.Speed = GPIO_SPEED_FREQ_LOW;
  HAL_GPIO_Init(GPIOA, &GPIO_InitStruct);

}

void Error_Handler(void)
{
  __disable_irq();
  while (1)
  {
  }
}
